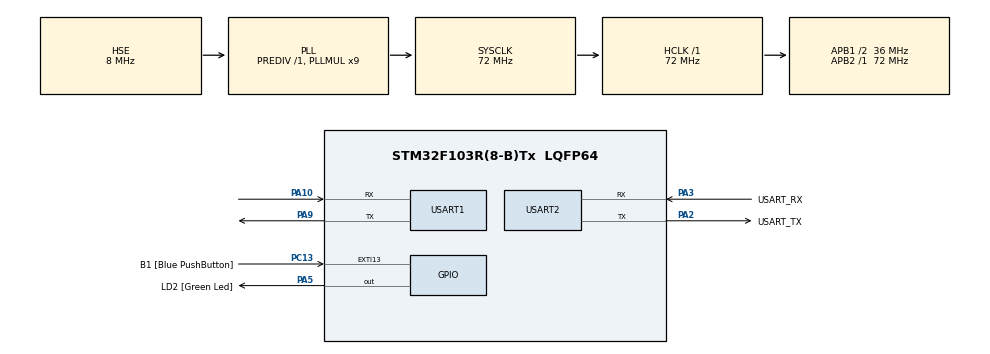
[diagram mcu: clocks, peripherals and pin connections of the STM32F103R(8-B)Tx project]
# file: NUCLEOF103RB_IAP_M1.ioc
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Mcu.Family=STM32F1
Mcu.Name=STM32F103R(8-B)Tx
Mcu.Package=LQFP64
NVIC.EXTI15_10_IRQn=true\:0\:0\:false\:false\:true\:true\:true
NVIC.PriorityGroup=NVIC_PRIORITYGROUP_4
PA10.Mode=Asynchronous
PA10.Signal=USART1_RX
PA13.GPIO_Label=TMS
PA13.Mode=Serial_Wire
PA13.Signal=SYS_JTMS-SWDIO
PA14.GPIO_Label=TCK
PA14.Mode=Serial_Wire
PA14.Signal=SYS_JTCK-SWCLK
PA2.GPIO_Label=USART_TX
PA2.GPIO_Mode=GPIO_MODE_AF_PP
PA2.GPIO_PuPd=GPIO_NOPULL
PA2.GPIO_Speed=GPIO_SPEED_FREQ_LOW
PA2.Mode=Asynchronous
PA2.Signal=USART2_TX
PA3.GPIO_Label=USART_RX
PA3.GPIO_Mode=GPIO_MODE_AF_PP
PA3.GPIO_PuPd=GPIO_NOPULL
PA3.GPIO_Speed=GPIO_SPEED_FREQ_LOW
PA3.Mode=Asynchronous
PA3.Signal=USART2_RX
PA5.GPIO_Label=LD2 [Green Led]
PA5.GPIO_ModeDefaultOutputPP=GPIO_MODE_OUTPUT_PP
PA5.GPIO_PuPd=GPIO_NOPULL
PA5.GPIO_Speed=GPIO_SPEED_FREQ_LOW
PA5.Signal=GPIO_Output
PA9.Mode=Asynchronous
PA9.Signal=USART1_TX
PB3.GPIO_Label=SWO
PB3.Signal=SYS_JTDO-TRACESWO
PC13-TAMPER-RTC.GPIO_Label=B1 [Blue PushButton]
PC13-TAMPER-RTC.GPIO_PuPd=GPIO_NOPULL
PC13-TAMPER-RTC.Signal=GPXTI13
PC14-OSC32_IN.Mode=LSE-External-Oscillator
PC14-OSC32_IN.Signal=RCC_OSC32_IN
PC15-OSC32_OUT.Mode=LSE-External-Oscillator
PC15-OSC32_OUT.Signal=RCC_OSC32_OUT
PD0-OSC_IN.Mode=HSE-External-Clock-Source
PD0-OSC_IN.Signal=RCC_OSC_IN
PD1-OSC_OUT.Mode=HSE-External-Clock-Source
PD1-OSC_OUT.Signal=RCC_OSC_OUT
ProjectManager.HeapSize=0x400
ProjectManager.StackSize=0x1024
ProjectManager.TargetToolchain=TrueSTUDIO
RCC.AHBFreq_Value=72000000
RCC.APB1CLKDivider=RCC_HCLK_DIV2
RCC.APB1Freq_Value=36000000
RCC.APB1TimFreq_Value=72000000
RCC.APB2Freq_Value=72000000
RCC.APB2TimFreq_Value=72000000
RCC.HCLKFreq_Value=72000000
RCC.PLLMUL=RCC_PLL_MUL9
RCC.PLLSourceVirtual=RCC_PLLSOURCE_HSE
RCC.RTCClockSelection=RCC_RTCCLKSOURCE_LSE
RCC.SYSCLKFreq_VALUE=72000000
RCC.SYSCLKSource=RCC_SYSCLKSOURCE_PLLCLK
RCC.USBFreq_Value=72000000
USART1.VirtualMode=VM_ASYNC
USART2.VirtualMode=VM_ASYNC
board=NUCLEO-F103RB

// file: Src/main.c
/* USER CODE BEGIN Header */
/**
  ******************************************************************************
  * @file           : main.c
  * @brief          : Main program body
  ******************************************************************************
  * @attention
  *
  * <h2><center>&copy; Copyright (c) 2020 STMicroelectronics.
  * All rights reserved.</center></h2>
  *
  * This software component is licensed by ST under BSD 3-Clause license,
  * the "License"; You may not use this file except in compliance with the
  * License. You may obtain a copy of the License at:
  *                        opensource.org/licenses/BSD-3-Clause
  *
  ******************************************************************************
  */
/* USER CODE END Header */

#include "main.h"

/* USER CODE BEGIN Includes */
#include <stdio.h>
#include <string.h>
#include "menu.h"
/* USER CODE END Includes */

UART_HandleTypeDef huart1;
//UART_HandleTypeDef huart2;

/* USER CODE BEGIN PV */
UART_HandleTypeDef UartHandle;    // Remane Huart2 -> UartHandle

extern pFunction JumpToApplication;
extern uint32_t JumpAddress;
/* USER CODE END PV */

void SystemClock_Config(void);
static void MX_GPIO_Init(void);
static void MX_USART1_UART_Init(void);
static void MX_USART2_UART_Init(void);
/* USER CODE BEGIN PFP */
static void IAP_Init(void);

#if 0
int _write(int file, unsigned char* p, int len)
{
  HAL_UART_Transmit(&huart2, p, len, 10);
  return len;
}
#endif

#if 1
int _write(int file, char *ptr, int len)
{
  //int DataIdx;

  //for (DataIdx = 0; DataIdx < len; DataIdx++)
  //{
    //__io_putchar(*ptr++);
    //HAL_UART_Transmit(&huart2, (uint8_t*)ptr, len, 10);
  HAL_UART_Transmit(&UartHandle, (uint8_t*)ptr, len, 10);
  //}
  return len;
}
#endif
/* USER CODE END PFP */

int main(void)
{

  /* MCU Configuration--------------------------------------------------------*/

  /* Reset of all peripherals, Initializes the Flash interface and the Systick. */
  HAL_Init();

  /* Configure the system clock */
  SystemClock_Config();

  /* Initialize all configured peripherals */
  MX_GPIO_Init();
  MX_USART1_UART_Init();
  MX_USART2_UART_Init();
  /* USER CODE BEGIN 2 */
  if(HAL_GPIO_ReadPin(B1_GPIO_Port, B1_Pin) == GPIO_PIN_RESET)
  {
    FLASH_If_Init();
    IAP_Init();
    Main_Menu();
  }
  else
  {
    if (((*(__IO uint32_t*)APPLICATION_ADDRESS) & 0x2FFE0000 ) == 0x20000000)
    {
      /* Jump to user application */
      JumpAddress = *(__IO uint32_t*) (APPLICATION_ADDRESS + 4);
      JumpToApplication = (pFunction) JumpAddress;
      /* Initialize user application's Stack Pointer */
      __set_MSP(*(__IO uint32_t*) APPLICATION_ADDRESS);
      JumpToApplication();
    }
  }
  /* USER CODE END 2 */

  /* Infinite loop */
  while (1)
  {

    /* USER CODE BEGIN 3 */
    //HAL_GPIO_TogglePin(LD2_GPIO_Port, LD2_Pin);
    //HAL_GPIO_WritePin(LD2_GPIO_Port, LD2_Pin, GPIO_PIN_SET);  // LD2 On
    //HAL_GPIO_WritePin(LD2_GPIO_Port, LD2_Pin, GPIO_PIN_RESET);  // LD2 Off
    printf("Hello STM32NUCLEO IAP\r\n");
    HAL_Delay(1000);
  }
  /* USER CODE END 3 */
}

void SystemClock_Config(void)
{
  RCC_OscInitTypeDef RCC_OscInitStruct = {0};
  RCC_ClkInitTypeDef RCC_ClkInitStruct = {0};

  /** Initializes the CPU, AHB and APB busses clocks
  */
  RCC_OscInitStruct.OscillatorType = RCC_OSCILLATORTYPE_HSE;
  RCC_OscInitStruct.HSEState = RCC_HSE_BYPASS;
  RCC_OscInitStruct.HSEPredivValue = RCC_HSE_PREDIV_DIV1;
  RCC_OscInitStruct.HSIState = RCC_HSI_ON;
  RCC_OscInitStruct.PLL.PLLState = RCC_PLL_ON;
  RCC_OscInitStruct.PLL.PLLSource = RCC_PLLSOURCE_HSE;
  RCC_OscInitStruct.PLL.PLLMUL = RCC_PLL_MUL9;
  if (HAL_RCC_OscConfig(&RCC_OscInitStruct) != HAL_OK)
  {
    Error_Handler();
  }
  /** Initializes the CPU, AHB and APB busses clocks
  */
  RCC_ClkInitStruct.ClockType = RCC_CLOCKTYPE_HCLK|RCC_CLOCKTYPE_SYSCLK
                              |RCC_CLOCKTYPE_PCLK1|RCC_CLOCKTYPE_PCLK2;
  RCC_ClkInitStruct.SYSCLKSource = RCC_SYSCLKSOURCE_PLLCLK;
  RCC_ClkInitStruct.AHBCLKDivider = RCC_SYSCLK_DIV1;
  RCC_ClkInitStruct.APB1CLKDivider = RCC_HCLK_DIV2;
  RCC_ClkInitStruct.APB2CLKDivider = RCC_HCLK_DIV1;

  if (HAL_RCC_ClockConfig(&RCC_ClkInitStruct, FLASH_LATENCY_2) != HAL_OK)
  {
    Error_Handler();
  }
}

static void MX_USART1_UART_Init(void)
{

  huart1.Instance = USART1;
  huart1.Init.BaudRate = 115200;
  huart1.Init.WordLength = UART_WORDLENGTH_8B;
  huart1.Init.StopBits = UART_STOPBITS_1;
  huart1.Init.Parity = UART_PARITY_NONE;
  huart1.Init.Mode = UART_MODE_TX_RX;
  huart1.Init.HwFlowCtl = UART_HWCONTROL_NONE;
  huart1.Init.OverSampling = UART_OVERSAMPLING_16;
  if (HAL_UART_Init(&huart1) != HAL_OK)
  {
    Error_Handler();
  }

}

static void MX_USART2_UART_Init(void)
{

#if 0
  huart2.Instance = USART2;
  huart2.Init.BaudRate = 115200;
  huart2.Init.WordLength = UART_WORDLENGTH_8B;
  huart2.Init.StopBits = UART_STOPBITS_1;
  huart2.Init.Parity = UART_PARITY_NONE;
  huart2.Init.Mode = UART_MODE_TX_RX;
  huart2.Init.HwFlowCtl = UART_HWCONTROL_NONE;
  huart2.Init.OverSampling = UART_OVERSAMPLING_16;
  if (HAL_UART_Init(&huart2) != HAL_OK)
  {
    Error_Handler();
  }
#endif
  /* USER CODE BEGIN USART2_Init 2 */
  UartHandle.Instance = USART2;
  UartHandle.Init.BaudRate = 115200;
  UartHandle.Init.WordLength = UART_WORDLENGTH_8B;
  UartHandle.Init.StopBits = UART_STOPBITS_1;
  UartHandle.Init.Parity = UART_PARITY_NONE;
  UartHandle.Init.Mode = UART_MODE_TX_RX;
  UartHandle.Init.HwFlowCtl = UART_HWCONTROL_NONE;
  UartHandle.Init.OverSampling = UART_OVERSAMPLING_16;
  if (HAL_UART_Init(&UartHandle) != HAL_OK)
  {
    Error_Handler();
  }
  /* USER CODE END USART2_Init 2 */

}

static void MX_GPIO_Init(void)
{
  GPIO_InitTypeDef GPIO_InitStruct = {0};

  /* GPIO Ports Clock Enable */
  __HAL_RCC_GPIOC_CLK_ENABLE();
  __HAL_RCC_GPIOD_CLK_ENABLE();
  __HAL_RCC_GPIOA_CLK_ENABLE();
  __HAL_RCC_GPIOB_CLK_ENABLE();

  /*Configure GPIO pin Output Level */
  HAL_GPIO_WritePin(LD2_GPIO_Port, LD2_Pin, GPIO_PIN_RESET);

  /*Configure GPIO pin : B1_Pin */
  GPIO_InitStruct.Pin = B1_Pin;
  GPIO_InitStruct.Mode = GPIO_MODE_IT_RISING;
  GPIO_InitStruct.Pull = GPIO_NOPULL;
  HAL_GPIO_Init(B1_GPIO_Port, &GPIO_InitStruct);

  /*Configure GPIO pin : LD2_Pin */
  GPIO_InitStruct.Pin = LD2_Pin;
  GPIO_InitStruct.Mode = GPIO_MODE_OUTPUT_PP;
  GPIO_InitStruct.Pull = GPIO_NOPULL;
  GPIO_InitStruct.Speed = GPIO_SPEED_FREQ_LOW;
  HAL_GPIO_Init(LD2_GPIO_Port, &GPIO_InitStruct);

  /* EXTI interrupt init*/
  HAL_NVIC_SetPriority(EXTI15_10_IRQn, 0, 0);
  HAL_NVIC_EnableIRQ(EXTI15_10_IRQn);

}

/* USER CODE BEGIN 4 */
/**
  * @brief  Initialize the IAP: Configure USART.
  * @param  None
  * @retval None
  */
void IAP_Init(void)
{
  /* USART resources configuration (Clock, GPIO pins and USART registers) ----*/
  /* USART configured as follow:
        - BaudRate = 115200 baud
        - Word Length = 8 Bits
        - One Stop Bit
        - No parity
        - Hardware flow control disabled (RTS and CTS signals)
        - Receive and transmit enabled
  */
  UartHandle.Init.BaudRate = 115200;
  UartHandle.Init.WordLength = UART_WORDLENGTH_8B;
  UartHandle.Init.StopBits = UART_STOPBITS_1;
  UartHandle.Init.Parity = UART_PARITY_NONE;
  UartHandle.Init.HwFlowCtl = UART_HWCONTROL_NONE;
  UartHandle.Init.Mode = UART_MODE_RX | UART_MODE_TX;

  //BSP_COM_Init(COM1, &UartHandle);

}

/* USER CODE END 4 */

void Error_Handler(void)
{
}

/************************ (C) COPYRIGHT STMicroelectronics *****END OF FILE****/
